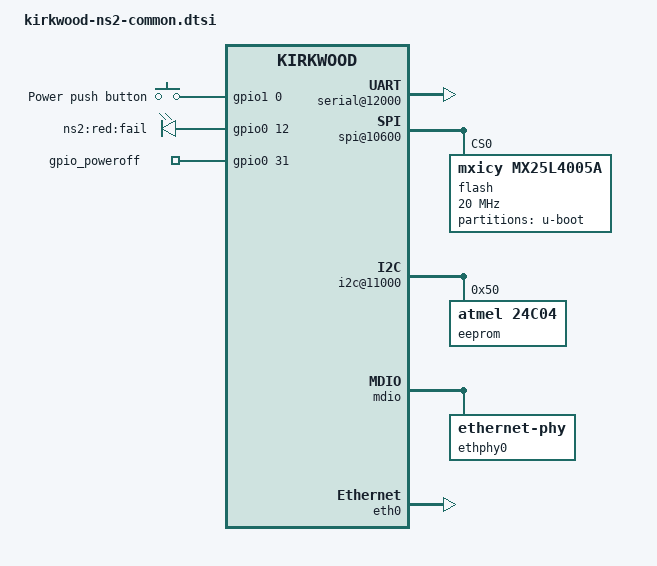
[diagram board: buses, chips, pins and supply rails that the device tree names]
// SPDX-License-Identifier: GPL-2.0
#include "kirkwood.dtsi"
#include "kirkwood-6281.dtsi"

/ {
	chosen {
		bootargs = "console=ttyS0,115200n8";
		stdout-path = &uart0;
	};

	ocp@f1000000 {
		pinctrl: pin-controller@10000 {
			pmx_ns2_sata0: pmx-ns2-sata0 {
				marvell,pins = "mpp21";
				marvell,function = "sata0";
			};
			pmx_ns2_sata1: pmx-ns2-sata1 {
				marvell,pins = "mpp20";
				marvell,function = "sata1";
			};
		};

		serial@12000 {
			status = "okay";
		};

		spi@10600 {
			status = "okay";

			flash@0 {
				#address-cells = <1>;
				#size-cells = <1>;
				compatible = "mxicy,mx25l4005a", "jedec,spi-nor";
				reg = <0>;
				spi-max-frequency = <20000000>;
				mode = <0>;

				partition@0 {
					reg = <0x0 0x80000>;
					label = "u-boot";
				};
			};
		};

		i2c@11000 {
			status = "okay";

			eeprom@50 {
				compatible = "atmel,24c04";
				pagesize = <16>;
				reg = <0x50>;
			};
		};
	};

	gpio_keys {
		compatible = "gpio-keys";

		button-power {
			label = "Power push button";
			linux,code = <KEY_POWER>;
			gpios = <&gpio1 0 GPIO_ACTIVE_HIGH>;
		};
	};

	gpio-leds {
		compatible = "gpio-leds";

		led-red-fail {
			label = "ns2:red:fail";
			gpios = <&gpio0 12 GPIO_ACTIVE_HIGH>;
		};
	};

	gpio_poweroff {
		compatible = "gpio-poweroff";
		gpios = <&gpio0 31 GPIO_ACTIVE_HIGH>;
	};

};

&mdio {
	status = "okay";

	ethphy0: ethernet-phy@X {
                /* overwrite reg property in board file */
	};
};

&eth0 {
	status = "okay";
	ethernet0-port@0 {
		phy-handle = <&ethphy0>;
	};
};
